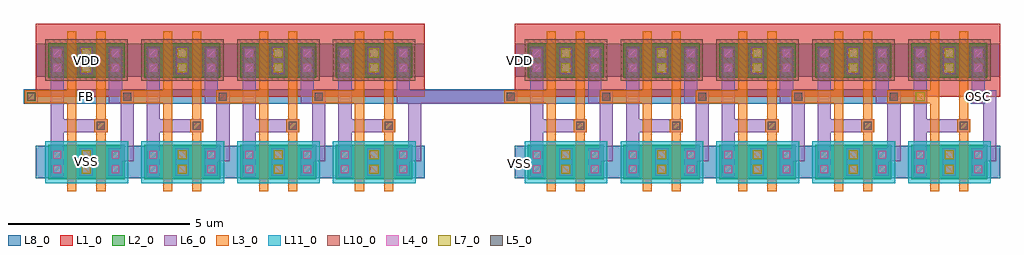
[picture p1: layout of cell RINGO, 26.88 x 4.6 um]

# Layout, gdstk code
import gdstk
lib = gdstk.Library(unit=1e-6, precision=1e-09)
def R(c, l, rs):  # rectangles x0, y0, x1, y1
    for r in rs: c.add(gdstk.rectangle(r[:2], r[2:], *l))
L1_0 = (1, 0)
L2_0 = (2, 0)
L3_0 = (3, 0)
L4_0 = (4, 0)
L5_0 = (5, 0)
L6_0 = (6, 0)
L7_0 = (7, 0)
L8_0 = (8, 0)
L10_0 = (10, 0)
L11_0 = (11, 0)

trans = lib.new_cell('TRANS')
R(trans, L2_0, [(-0.65,-0.475,0.65,0.475)])
R(trans, L4_0, [(-0.51,-0.31,-0.29,-0.09), (0.29,-0.31,0.51,-0.09), (-0.51,0.09,-0.29,0.31), (0.29,0.09,0.51,0.31)])
R(trans, L6_0, [(-0.58,-0.38,-0.22,0.38), (0.22,-0.38,0.58,0.38)])
trans.add(gdstk.FlexPath([(0,-0.8),(0,0.8)], 0.25, ends="flush", simple_path=True, layer=3, datatype=0))  # L3_0

inv2 = lib.new_cell('INV2')
R(inv2, L1_0, [(-1.4,1.8,1.4,3.8)])
R(inv2, L3_0, [(-0.525,-0.25,-0.275,2.25), (0.275,-0.25,0.525,2.25), (0.22,0.82,0.58,1.18), (-1.7,1.62,-0.4,1.98)])
R(inv2, L5_0, [(0.29,0.89,0.51,1.11), (-1.63,1.69,-1.41,1.91)])
R(inv2, L6_0, [(-0.98,-0.42,-0.62,2.42), (-0.8,0.82,0.58,1.18)])
R(inv2, L7_0, [(-0.125,-0.325,0.125,-0.075), (-0.125,0.075,0.125,0.325), (-0.125,2.475,0.125,2.725), (-0.125,2.875,0.125,3.125)])
R(inv2, L8_0, [(-1.4,-0.45,1.4,0.45), (-1.4,2.35,1.4,3.25)])
R(inv2, L10_0, [(-1.13,2.23,1.14,3.38)])
R(inv2, L11_0, [(-1.13,-0.58,1.15,0.57)])
inv2.add(gdstk.FlexPath([(0.8,0.2),(1.12,0.2),(1.12,1.8),(0.8,1.8),(0.8,2.42)], 0.36, ends="flush", simple_path=True, layer=6, datatype=0))  # L6_0
inv2.add(gdstk.Reference(trans, (-0.4,0)))
inv2.add(gdstk.Reference(trans, (-0.4,2.8)))
inv2.add(gdstk.Reference(trans, (0.4,0), x_reflection=True))
inv2.add(gdstk.Reference(trans, (0.4,2.8), x_reflection=True))
inv2.add(gdstk.Label('IN', (-0.8,1.8), layer=3, texttype=1))
inv2.add(gdstk.Label('OUT', (0.8,1.8), layer=6, texttype=1))
inv2.add(gdstk.Label('VSS', (-1.25,0), layer=8, texttype=1))
inv2.add(gdstk.Label('VDD', (-1.26,2.76), layer=8, texttype=1))
inv2.add(gdstk.Label('NWELL', (-1.15,3.54), layer=1, texttype=1))

ringo = lib.new_cell('RINGO')
R(ringo, L6_0, [(-1.7,1.62,-1.34,1.98), (9.12,1.62,11.86,1.98)])
R(ringo, L7_0, [(-1.645,1.675,-1.395,1.925), (22.835,1.675,23.085,1.925), (24.435,1.675,24.685,1.925)])
R(ringo, L8_0, [(-1.72,1.6,23.16,2), (24.36,1.6,24.76,2)])
ringo.add(gdstk.Reference(inv2, (0,0)))
ringo.add(gdstk.Reference(inv2, (2.64,0)))
ringo.add(gdstk.Reference(inv2, (5.28,0)))
ringo.add(gdstk.Reference(inv2, (7.92,0)))
ringo.add(gdstk.Reference(inv2, (13.2,0)))
ringo.add(gdstk.Reference(inv2, (15.84,0)))
ringo.add(gdstk.Reference(inv2, (18.48,0)))
ringo.add(gdstk.Reference(inv2, (21.12,0)))
ringo.add(gdstk.Reference(inv2, (23.76,0)))
ringo.add(gdstk.Label('VDD', (11.93,2.79), layer=8, texttype=1))
ringo.add(gdstk.Label('VSS', (11.94,-0.03), layer=8, texttype=1))
ringo.add(gdstk.Label('OSC', (24.56,1.8), layer=8, texttype=1))
ringo.add(gdstk.Label('FB', (0,1.8), layer=8, texttype=1))
ringo.add(gdstk.Label('VSS', (0,0), layer=8, texttype=1))
ringo.add(gdstk.Label('VDD', (0,2.8), layer=8, texttype=1))

lib.write_gds('RINGO.gds')
